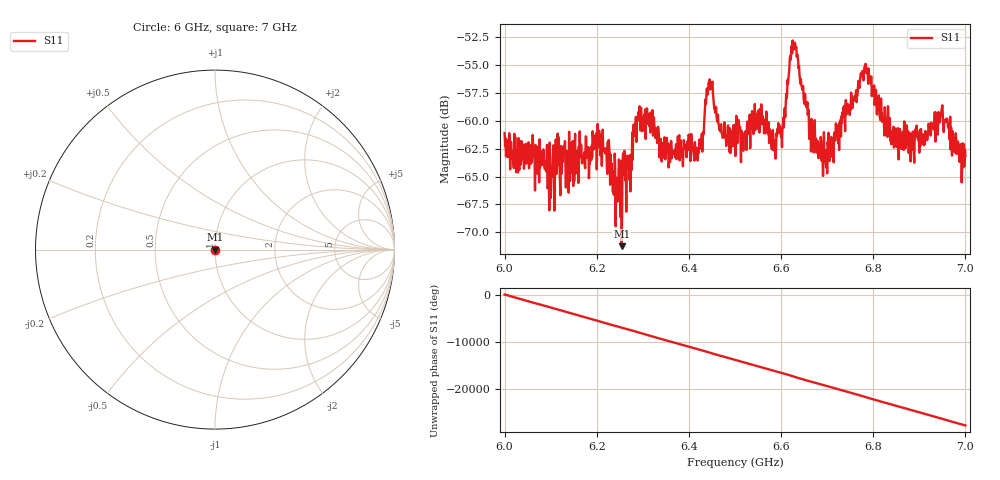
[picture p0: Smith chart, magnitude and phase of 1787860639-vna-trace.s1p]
! Created with skrf 1.10.0 (http://scikit-rf.org).
# Hz S RI R 50.0
!freq ReS11 ImS11
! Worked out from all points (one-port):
!   1001 points, 6 GHz to 7 GHz, reference 50 ohm
!   lowest |S11| = -71.3 dB at 6.254 GHz (marker M1), VSWR 1.00, Z = 50 + j0.0069 ohm
!   |S11| at or under -10 dB: start of sweep to end of sweep
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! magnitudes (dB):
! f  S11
! 6 GHz  -61.1
! 6.03 GHz  -61.6
! 6.081 GHz  -63.3
! 6.098 GHz  -62.0
! 6.125 GHz  -63.1
! 6.202 GHz  -60.3
! 6.25 GHz  -63.6
! 6.254 GHz  -71.3
! 6.292 GHz  -60.0
! 6.32 GHz  -60.6
! 6.341 GHz  -63.7
! 6.375 GHz  -63.3
! 6.424 GHz  -62.5
! 6.446 GHz  -57.2
! 6.471 GHz  -61.1
! 6.5 GHz  -60.4
! 6.555 GHz  -58.9
! 6.584 GHz  -62.7
! 6.604 GHz  -60.5
! 6.625 GHz  -52.8
! 6.666 GHz  -59.8
! 6.695 GHz  -63.2
! 6.75 GHz  -58.8
! 6.785 GHz  -55.7
! 6.842 GHz  -61.2
! 6.875 GHz  -62.0
! 6.946 GHz  -59.4
! 7 GHz  -63.2
